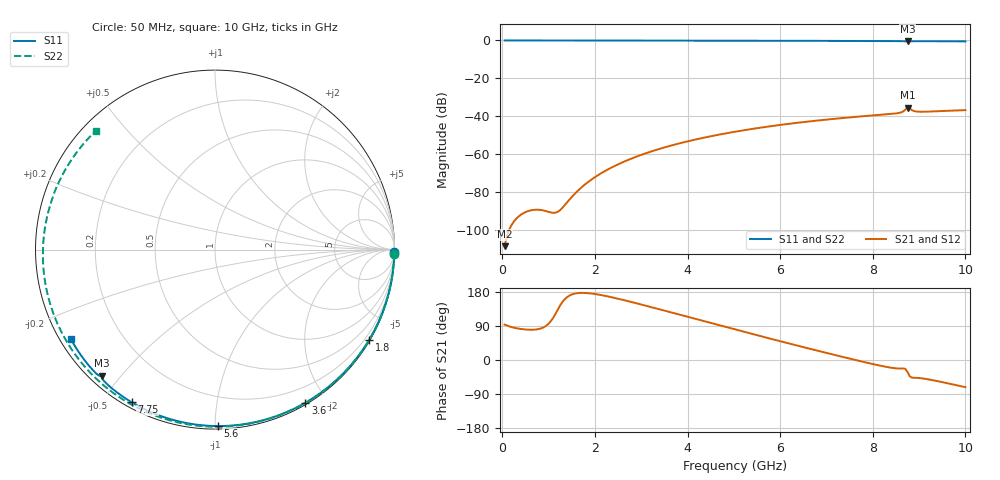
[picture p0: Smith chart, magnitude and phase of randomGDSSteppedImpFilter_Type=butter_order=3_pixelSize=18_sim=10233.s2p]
! freq	dB(S11)	phase(S11)	dB(S12)	phase(S12)
!  dB(S21)	phase(S21)	dB(S22)	phase(S22)
!S-par simulation data
#  GHz  S  DB  R 50
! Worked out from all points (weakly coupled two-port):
!   200 points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, 50 MHz to 10 GHz, reference 50 ohm
!   highest |S21| = -35.44 dB at 8.75 GHz (marker M1); lowest = -108.6 dB at 50 MHz (marker M2)
!   lowest |S11| = -0.5 dB at 8.75 GHz (marker M3), VSWR 33.95, Z = 1.77 - j22.3 ohm
!   |S11| at or under -10 dB: nowhere
!   |S22| runs from -0.6 to 0.0 dB; largest |S21 - S12| = 0
!   S11 on the Smith chart (normalised r, x): 50 MHz: open; 1.8 GHz: 0.03, -3.67; 3.6 GHz: 0.02, -1.75; 5.6 GHz: 0.02, -1.01; 7.75 GHz: 0.02, -0.59; 10 GHz: 0.03, -0.28
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0.05  -0.00 -0.8  -108.63 93.4  -108.63 93.4  -0.00 -1.4
0.8  -0.02 -13.7  -89.43 82.1  -89.43 82.1  -0.03 -22.4
1.6  -0.03 -27.2  -80.11 176.1  -80.11 176.1  -0.06 -44.2
1.75  -0.04 -29.7  -76.76 177.1  -76.76 177.1  -0.06 -48.1
1.8  -0.04 -30.5  -75.75 176.9  -75.75 176.9  -0.06 -49.5
2.1  -0.05 -35.4  -70.63 172.1  -70.63 172.1  -0.07 -57.3
2.5  -0.05 -42.0  -65.42 161.7  -65.42 161.7  -0.08 -67.4
2.9  -0.06 -48.4  -61.32 149.6  -61.32 149.6  -0.10 -77.2
3.4  -0.07 -56.3  -57.22 133.6  -57.22 133.6  -0.11 -89.1
3.6  -0.08 -59.4  -55.80 127.1  -55.80 127.1  -0.12 -93.7
4.3  -0.10 -70.1  -51.62 104.2  -51.62 104.2  -0.15 -109.3
5.05  -0.12 -81.2  -48.10 79.8  -48.10 79.8  -0.18 -125.2
5.6  -0.15 -89.2  -45.97 62.2  -45.97 62.2  -0.21 -136.5
6.7  -0.20 -104.5  -42.56 27.8  -42.56 27.8  -0.28 -158.3
7.75  -0.27 -118.7  -40.10 -3.6  -40.10 -3.6  -0.36 -178.8
8.35  -0.33 -126.7  -38.91 -19.4  -38.91 -19.4  -0.41 169.3
8.6  -0.37 -130.2  -38.08 -22.5  -38.08 -22.5  -0.44 164.3
8.65  -0.40 -130.9  -37.59 -22.3  -37.59 -22.3  -0.45 163.3
8.75  -0.51 -131.8  -35.44 -31.4  -35.44 -31.4  -0.45 161.3
8.9  -0.39 -133.4  -37.35 -46.9  -37.35 -46.9  -0.46 158.2
9  -0.39 -134.8  -37.63 -47.5  -37.63 -47.5  -0.47 156.1
10  -0.49 -148.2  -36.78 -71.7  -36.78 -71.7  -0.56 135.0
